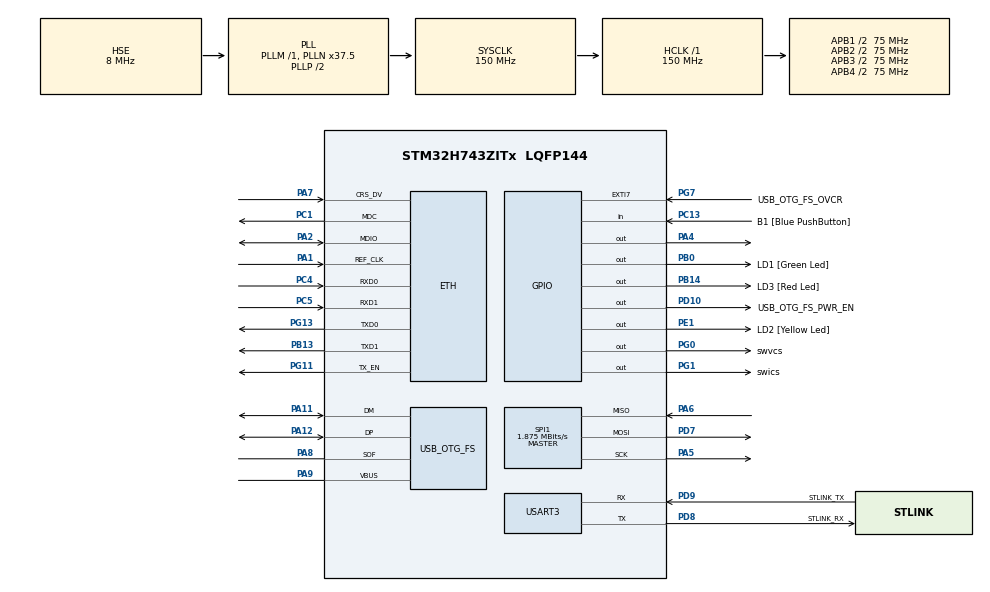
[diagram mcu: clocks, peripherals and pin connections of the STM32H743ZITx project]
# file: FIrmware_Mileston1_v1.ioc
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ETH.MediaInterface=HAL_ETH_RMII_MODE
Mcu.Family=STM32H7
Mcu.Name=STM32H743ZITx
Mcu.Package=LQFP144
NVIC.PriorityGroup=NVIC_PRIORITYGROUP_4
NVIC.TIM1_BRK_IRQn=true\:0\:0\:false\:false\:true\:true\:true\:true
NVIC.TIM1_CC_IRQn=true\:0\:0\:false\:false\:true\:true\:true\:true
NVIC.TIM1_TRG_COM_IRQn=true\:0\:0\:false\:false\:true\:true\:true\:true
NVIC.TIM1_UP_IRQn=true\:0\:0\:false\:false\:true\:true\:true\:true
PA1.Mode=RMII
PA1.Signal=ETH_REF_CLK
PA11.Mode=Device_Only
PA11.Signal=USB_OTG_FS_DM
PA12.Mode=Device_Only
PA12.Signal=USB_OTG_FS_DP
PA2.Mode=RMII
PA2.Signal=ETH_MDIO
PA4.Signal=GPIO_Output
PA5.Mode=Full_Duplex_Master
PA5.Signal=SPI1_SCK
PA6.Mode=Full_Duplex_Master
PA6.Signal=SPI1_MISO
PA7.Mode=RMII
PA7.Signal=ETH_CRS_DV
PA8.Mode=Activate_SOF_FS
PA8.Signal=USB_OTG_FS_SOF
PA9.Mode=Activate_VBUS
PA9.Signal=USB_OTG_FS_VBUS
PB0.GPIO_Label=LD1 [Green Led]
PB0.Signal=GPIO_Output
PB13.Mode=RMII
PB13.Signal=ETH_TXD1
PB14.GPIO_Label=LD3 [Red Led]
PB14.Signal=GPIO_Output
PC1.Mode=RMII
PC1.Signal=ETH_MDC
PC13.GPIO_Label=B1 [Blue PushButton]
PC13.Signal=GPIO_Input
PC14-OSC32_IN\ (OSC32_IN).Mode=LSE-External-Oscillator
PC14-OSC32_IN\ (OSC32_IN).Signal=RCC_OSC32_IN
PC15-OSC32_OUT\ (OSC32_OUT).Mode=LSE-External-Oscillator
PC15-OSC32_OUT\ (OSC32_OUT).Signal=RCC_OSC32_OUT
PC4.Mode=RMII
PC4.Signal=ETH_RXD0
PC5.Mode=RMII
PC5.Signal=ETH_RXD1
PD10.GPIO_Label=USB_OTG_FS_PWR_EN
PD10.Signal=GPIO_Output
PD7.Mode=Full_Duplex_Master
PD7.Signal=SPI1_MOSI
PD8.GPIO_Label=STLINK_RX
PD8.Mode=Asynchronous
PD8.Signal=USART3_TX
PD9.GPIO_Label=STLINK_TX
PD9.Mode=Asynchronous
PD9.Signal=USART3_RX
PE1.GPIO_Label=LD2 [Yellow Led]
PE1.Signal=GPIO_Output
PG0.GPIO_Label=swvcs
PG0.Signal=GPIO_Output
PG1.GPIO_Label=swics
PG1.Signal=GPIO_Output
PG11.Mode=RMII
PG11.Signal=ETH_TX_EN
PG13.Mode=RMII
PG13.Signal=ETH_TXD0
PG7.GPIO_Label=USB_OTG_FS_OVCR
PG7.Signal=GPXTI7
PH0-OSC_IN\ (PH0).Mode=HSE-External-Clock-Source
PH0-OSC_IN\ (PH0).Signal=RCC_OSC_IN
PH1-OSC_OUT\ (PH1).Signal=RCC_OSC_OUT
ProjectManager.HeapSize=0x200
ProjectManager.StackSize=0x400
ProjectManager.TargetToolchain=STM32CubeIDE
RCC.ADCFreq_Value=16125000
RCC.APB1Freq_Value=75000000
RCC.APB2Freq_Value=75000000
RCC.APB3Freq_Value=75000000
RCC.APB4Freq_Value=75000000
RCC.CortexFreq_Value=150000000
RCC.D1PPRE=RCC_APB3_DIV2
RCC.D2PPRE1=RCC_APB1_DIV2
RCC.D2PPRE2=RCC_APB2_DIV2
RCC.D3PPRE=RCC_APB4_DIV2
RCC.DIVM1=1
RCC.DIVN1=37
RCC.DIVQ1=5
RCC.HCLKFreq_Value=150000000
RCC.HSE_VALUE=8000000
RCC.PLL2FRACN=0
RCC.PLL3FRACN=0
RCC.PLLFRACN=4096
RCC.PWR_Regulator_Voltage_Scale=PWR_REGULATOR_VOLTAGE_SCALE2
RCC.SYSCLKFreq_VALUE=150000000
RCC.SYSCLKSource=RCC_SYSCLKSOURCE_PLLCLK
RCC.USBFreq_Value=60000000
SPI1.BaudRatePrescaler=SPI_BAUDRATEPRESCALER_32
SPI1.CalculateBaudRate=1.875 MBits/s
SPI1.DataSize=SPI_DATASIZE_8BIT
SPI1.Direction=SPI_DIRECTION_2LINES
SPI1.Mode=SPI_MODE_MASTER
SPI1.VirtualType=VM_MASTER
TIM1.Period=10000-1
TIM1.Prescaler=15000-1
USART3.VirtualMode-Asynchronous=VM_ASYNC
USB_OTG_FS.VirtualMode=Device_Only
VP_MEMORYMAP_VS_MEMORYMAP.Mode=CurAppReg
VP_TIM1_VS_ClockSourceINT.Mode=Internal
board=NUCLEO-H743ZI2

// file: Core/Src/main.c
/* USER CODE BEGIN Header */
/**
  ******************************************************************************
  * @file           : main.c
  * @brief          : Main program body
  ******************************************************************************
  * @attention
  *
  * Copyright (c) 2024 STMicroelectronics.
  * All rights reserved.
  *
  * This software is licensed under terms that can be found in the LICENSE file
  * in the root directory of this software component.
  * If no LICENSE file comes with this software, it is provided AS-IS.
  *
  ******************************************************************************
  */
/* USER CODE END Header */
#include "main.h"
#include "string.h"

/* USER CODE BEGIN Includes */

#define ARM_MATH_CM7
#include "arm_math.h"
#include "stdio.h"
#include "../../Drivers/Low pass filter/LPF.h"
#include "iocontroller.h"

/* USER CODE END Includes */

#if defined ( __ICCARM__ ) /*!< IAR Compiler */
#pragma location=0x30000000
ETH_DMADescTypeDef  DMARxDscrTab[ETH_RX_DESC_CNT]; /* Ethernet Rx DMA Descriptors */
#pragma location=0x30000080
ETH_DMADescTypeDef  DMATxDscrTab[ETH_TX_DESC_CNT]; /* Ethernet Tx DMA Descriptors */

#elif defined ( __CC_ARM )  /* MDK ARM Compiler */

__attribute__((at(0x30000000))) ETH_DMADescTypeDef  DMARxDscrTab[ETH_RX_DESC_CNT]; /* Ethernet Rx DMA Descriptors */
__attribute__((at(0x30000080))) ETH_DMADescTypeDef  DMATxDscrTab[ETH_TX_DESC_CNT]; /* Ethernet Tx DMA Descriptors */

#elif defined ( __GNUC__ ) /* GNU Compiler */

ETH_DMADescTypeDef DMARxDscrTab[ETH_RX_DESC_CNT] __attribute__((section(".RxDecripSection"))); /* Ethernet Rx DMA Descriptors */
ETH_DMADescTypeDef DMATxDscrTab[ETH_TX_DESC_CNT] __attribute__((section(".TxDecripSection")));   /* Ethernet Tx DMA Descriptors */
#endif

ETH_TxPacketConfig TxConfig;

ETH_HandleTypeDef heth;

SPI_HandleTypeDef hspi1;

TIM_HandleTypeDef htim1;

UART_HandleTypeDef huart3;

PCD_HandleTypeDef hpcd_USB_OTG_FS;

/* USER CODE BEGIN PV */
typdef_GPI_logic GP_logic_i;
typdef_GPV_logic GP_logic_v;
extern float32_t LPF_Kernel[LPF_Kernel_Size];
extern float32_t signal1[Signalsize];
float32_t filtersignal[(LPF_Kernel_Size+Signalsize)-1];
/* USER CODE END PV */

void SystemClock_Config(void);
static void MX_GPIO_Init(void);
static void MX_ETH_Init(void);
static void MX_USART3_UART_Init(void);
static void MX_USB_OTG_FS_PCD_Init(void);
static void MX_SPI1_Init(void);
static void MX_TIM1_Init(void);
/* USER CODE BEGIN PFP */
void printsignal(void);
void printfiltersignal(void);
/* USER CODE END PFP */

/* USER CODE BEGIN 0 */
int _write(int file, char *ptr, int len){
	HAL_UART_Transmit(&huart3,(uint8_t *) ptr, len, HAL_MAX_DELAY);
	return len;
}
/* USER CODE END 0 */

int main(void)
{

  /* MCU Configuration--------------------------------------------------------*/

  /* Reset of all peripherals, Initializes the Flash interface and the Systick. */
  HAL_Init();

  /* Configure the system clock */
  SystemClock_Config();

  /* Initialize all configured peripherals */
  MX_GPIO_Init();
  MX_ETH_Init();
  MX_USART3_UART_Init();
  MX_USB_OTG_FS_PCD_Init();
  MX_SPI1_Init();
  MX_TIM1_Init();
  /* USER CODE BEGIN 2 */
  arm_conv_f32(signal1, Signalsize, LPF_Kernel, LPF_Kernel_Size, filtersignal);
  printsignal();
  printfiltersignal();
  Init_GPIOs_OUTPUT();

  /* USER CODE END 2 */

  /* Infinite loop */
  while (1)
  {

    /* USER CODE BEGIN 3 */
	  updateSwitch();

  }
  /* USER CODE END 3 */
}

void SystemClock_Config(void)
{
  RCC_OscInitTypeDef RCC_OscInitStruct = {0};
  RCC_ClkInitTypeDef RCC_ClkInitStruct = {0};

  /** Supply configuration update enable
  */
  HAL_PWREx_ConfigSupply(PWR_LDO_SUPPLY);

  /** Configure the main internal regulator output voltage
  */
  __HAL_PWR_VOLTAGESCALING_CONFIG(PWR_REGULATOR_VOLTAGE_SCALE2);

  while(!__HAL_PWR_GET_FLAG(PWR_FLAG_VOSRDY)) {}

  /** Initializes the RCC Oscillators according to the specified parameters
  * in the RCC_OscInitTypeDef structure.
  */
  RCC_OscInitStruct.OscillatorType = RCC_OSCILLATORTYPE_HSE;
  RCC_OscInitStruct.HSEState = RCC_HSE_BYPASS;
  RCC_OscInitStruct.PLL.PLLState = RCC_PLL_ON;
  RCC_OscInitStruct.PLL.PLLSource = RCC_PLLSOURCE_HSE;
  RCC_OscInitStruct.PLL.PLLM = 1;
  RCC_OscInitStruct.PLL.PLLN = 37;
  RCC_OscInitStruct.PLL.PLLP = 2;
  RCC_OscInitStruct.PLL.PLLQ = 5;
  RCC_OscInitStruct.PLL.PLLR = 2;
  RCC_OscInitStruct.PLL.PLLRGE = RCC_PLL1VCIRANGE_3;
  RCC_OscInitStruct.PLL.PLLVCOSEL = RCC_PLL1VCOWIDE;
  RCC_OscInitStruct.PLL.PLLFRACN = 4096;
  if (HAL_RCC_OscConfig(&RCC_OscInitStruct) != HAL_OK)
  {
    Error_Handler();
  }

  /** Initializes the CPU, AHB and APB buses clocks
  */
  RCC_ClkInitStruct.ClockType = RCC_CLOCKTYPE_HCLK|RCC_CLOCKTYPE_SYSCLK
                              |RCC_CLOCKTYPE_PCLK1|RCC_CLOCKTYPE_PCLK2
                              |RCC_CLOCKTYPE_D3PCLK1|RCC_CLOCKTYPE_D1PCLK1;
  RCC_ClkInitStruct.SYSCLKSource = RCC_SYSCLKSOURCE_PLLCLK;
  RCC_ClkInitStruct.SYSCLKDivider = RCC_SYSCLK_DIV1;
  RCC_ClkInitStruct.AHBCLKDivider = RCC_HCLK_DIV1;
  RCC_ClkInitStruct.APB3CLKDivider = RCC_APB3_DIV2;
  RCC_ClkInitStruct.APB1CLKDivider = RCC_APB1_DIV2;
  RCC_ClkInitStruct.APB2CLKDivider = RCC_APB2_DIV2;
  RCC_ClkInitStruct.APB4CLKDivider = RCC_APB4_DIV2;

  if (HAL_RCC_ClockConfig(&RCC_ClkInitStruct, FLASH_LATENCY_2) != HAL_OK)
  {
    Error_Handler();
  }
}

static void MX_ETH_Init(void)
{

   static uint8_t MACAddr[6];

  heth.Instance = ETH;
  MACAddr[0] = 0x00;
  MACAddr[1] = 0x80;
  MACAddr[2] = 0xE1;
  MACAddr[3] = 0x00;
  MACAddr[4] = 0x00;
  MACAddr[5] = 0x00;
  heth.Init.MACAddr = &MACAddr[0];
  heth.Init.MediaInterface = HAL_ETH_RMII_MODE;
  heth.Init.TxDesc = DMATxDscrTab;
  heth.Init.RxDesc = DMARxDscrTab;
  heth.Init.RxBuffLen = 1524;

  if (HAL_ETH_Init(&heth) != HAL_OK)
  {
    Error_Handler();
  }

  memset(&TxConfig, 0 , sizeof(ETH_TxPacketConfig));
  TxConfig.Attributes = ETH_TX_PACKETS_FEATURES_CSUM | ETH_TX_PACKETS_FEATURES_CRCPAD;
  TxConfig.ChecksumCtrl = ETH_CHECKSUM_IPHDR_PAYLOAD_INSERT_PHDR_CALC;
  TxConfig.CRCPadCtrl = ETH_CRC_PAD_INSERT;

}

static void MX_SPI1_Init(void)
{

  /* SPI1 parameter configuration*/
  hspi1.Instance = SPI1;
  hspi1.Init.Mode = SPI_MODE_MASTER;
  hspi1.Init.Direction = SPI_DIRECTION_2LINES;
  hspi1.Init.DataSize = SPI_DATASIZE_8BIT;
  hspi1.Init.CLKPolarity = SPI_POLARITY_LOW;
  hspi1.Init.CLKPhase = SPI_PHASE_1EDGE;
  hspi1.Init.NSS = SPI_NSS_SOFT;
  hspi1.Init.BaudRatePrescaler = SPI_BAUDRATEPRESCALER_32;
  hspi1.Init.FirstBit = SPI_FIRSTBIT_MSB;
  hspi1.Init.TIMode = SPI_TIMODE_DISABLE;
  hspi1.Init.CRCCalculation = SPI_CRCCALCULATION_DISABLE;
  hspi1.Init.CRCPolynomial = 0x0;
  hspi1.Init.NSSPMode = SPI_NSS_PULSE_ENABLE;
  hspi1.Init.NSSPolarity = SPI_NSS_POLARITY_LOW;
  hspi1.Init.FifoThreshold = SPI_FIFO_THRESHOLD_01DATA;
  hspi1.Init.TxCRCInitializationPattern = SPI_CRC_INITIALIZATION_ALL_ZERO_PATTERN;
  hspi1.Init.RxCRCInitializationPattern = SPI_CRC_INITIALIZATION_ALL_ZERO_PATTERN;
  hspi1.Init.MasterSSIdleness = SPI_MASTER_SS_IDLENESS_00CYCLE;
  hspi1.Init.MasterInterDataIdleness = SPI_MASTER_INTERDATA_IDLENESS_00CYCLE;
  hspi1.Init.MasterReceiverAutoSusp = SPI_MASTER_RX_AUTOSUSP_DISABLE;
  hspi1.Init.MasterKeepIOState = SPI_MASTER_KEEP_IO_STATE_DISABLE;
  hspi1.Init.IOSwap = SPI_IO_SWAP_DISABLE;
  if (HAL_SPI_Init(&hspi1) != HAL_OK)
  {
    Error_Handler();
  }

}

static void MX_TIM1_Init(void)
{

  TIM_ClockConfigTypeDef sClockSourceConfig = {0};
  TIM_MasterConfigTypeDef sMasterConfig = {0};

  htim1.Instance = TIM1;
  htim1.Init.Prescaler = 15000-1;
  htim1.Init.CounterMode = TIM_COUNTERMODE_UP;
  htim1.Init.Period = 10000-1;
  htim1.Init.ClockDivision = TIM_CLOCKDIVISION_DIV1;
  htim1.Init.RepetitionCounter = 0;
  htim1.Init.AutoReloadPreload = TIM_AUTORELOAD_PRELOAD_DISABLE;
  if (HAL_TIM_Base_Init(&htim1) != HAL_OK)
  {
    Error_Handler();
  }
  sClockSourceConfig.ClockSource = TIM_CLOCKSOURCE_INTERNAL;
  if (HAL_TIM_ConfigClockSource(&htim1, &sClockSourceConfig) != HAL_OK)
  {
    Error_Handler();
  }
  sMasterConfig.MasterOutputTrigger = TIM_TRGO_RESET;
  sMasterConfig.MasterOutputTrigger2 = TIM_TRGO2_RESET;
  sMasterConfig.MasterSlaveMode = TIM_MASTERSLAVEMODE_DISABLE;
  if (HAL_TIMEx_MasterConfigSynchronization(&htim1, &sMasterConfig) != HAL_OK)
  {
    Error_Handler();
  }

}

static void MX_USART3_UART_Init(void)
{

  huart3.Instance = USART3;
  huart3.Init.BaudRate = 115200;
  huart3.Init.WordLength = UART_WORDLENGTH_8B;
  huart3.Init.StopBits = UART_STOPBITS_1;
  huart3.Init.Parity = UART_PARITY_NONE;
  huart3.Init.Mode = UART_MODE_TX_RX;
  huart3.Init.HwFlowCtl = UART_HWCONTROL_NONE;
  huart3.Init.OverSampling = UART_OVERSAMPLING_16;
  huart3.Init.OneBitSampling = UART_ONE_BIT_SAMPLE_DISABLE;
  huart3.Init.ClockPrescaler = UART_PRESCALER_DIV1;
  huart3.AdvancedInit.AdvFeatureInit = UART_ADVFEATURE_NO_INIT;
  if (HAL_UART_Init(&huart3) != HAL_OK)
  {
    Error_Handler();
  }
  if (HAL_UARTEx_SetTxFifoThreshold(&huart3, UART_TXFIFO_THRESHOLD_1_8) != HAL_OK)
  {
    Error_Handler();
  }
  if (HAL_UARTEx_SetRxFifoThreshold(&huart3, UART_RXFIFO_THRESHOLD_1_8) != HAL_OK)
  {
    Error_Handler();
  }
  if (HAL_UARTEx_DisableFifoMode(&huart3) != HAL_OK)
  {
    Error_Handler();
  }

}

static void MX_USB_OTG_FS_PCD_Init(void)
{

  hpcd_USB_OTG_FS.Instance = USB_OTG_FS;
  hpcd_USB_OTG_FS.Init.dev_endpoints = 9;
  hpcd_USB_OTG_FS.Init.speed = PCD_SPEED_FULL;
  hpcd_USB_OTG_FS.Init.dma_enable = DISABLE;
  hpcd_USB_OTG_FS.Init.phy_itface = PCD_PHY_EMBEDDED;
  hpcd_USB_OTG_FS.Init.Sof_enable = ENABLE;
  hpcd_USB_OTG_FS.Init.low_power_enable = DISABLE;
  hpcd_USB_OTG_FS.Init.lpm_enable = DISABLE;
  hpcd_USB_OTG_FS.Init.battery_charging_enable = ENABLE;
  hpcd_USB_OTG_FS.Init.vbus_sensing_enable = ENABLE;
  hpcd_USB_OTG_FS.Init.use_dedicated_ep1 = DISABLE;
  if (HAL_PCD_Init(&hpcd_USB_OTG_FS) != HAL_OK)
  {
    Error_Handler();
  }

}

static void MX_GPIO_Init(void)
{
  GPIO_InitTypeDef GPIO_InitStruct = {0};

  /* GPIO Ports Clock Enable */
  __HAL_RCC_GPIOC_CLK_ENABLE();
  __HAL_RCC_GPIOH_CLK_ENABLE();
  __HAL_RCC_GPIOA_CLK_ENABLE();
  __HAL_RCC_GPIOB_CLK_ENABLE();
  __HAL_RCC_GPIOG_CLK_ENABLE();
  __HAL_RCC_GPIOD_CLK_ENABLE();
  __HAL_RCC_GPIOE_CLK_ENABLE();

  /*Configure GPIO pin Output Level */
  HAL_GPIO_WritePin(GPIOA, GPIO_PIN_4, GPIO_PIN_RESET);

  /*Configure GPIO pin Output Level */
  HAL_GPIO_WritePin(GPIOB, LD1_Pin|LD3_Pin, GPIO_PIN_RESET);

  /*Configure GPIO pin Output Level */
  HAL_GPIO_WritePin(GPIOG, swvcs_Pin|swics_Pin, GPIO_PIN_RESET);

  /*Configure GPIO pin Output Level */
  HAL_GPIO_WritePin(USB_OTG_FS_PWR_EN_GPIO_Port, USB_OTG_FS_PWR_EN_Pin, GPIO_PIN_RESET);

  /*Configure GPIO pin Output Level */
  HAL_GPIO_WritePin(LD2_GPIO_Port, LD2_Pin, GPIO_PIN_RESET);

  /*Configure GPIO pin : B1_Pin */
  GPIO_InitStruct.Pin = B1_Pin;
  GPIO_InitStruct.Mode = GPIO_MODE_INPUT;
  GPIO_InitStruct.Pull = GPIO_NOPULL;
  HAL_GPIO_Init(B1_GPIO_Port, &GPIO_InitStruct);

  /*Configure GPIO pin : PA4 */
  GPIO_InitStruct.Pin = GPIO_PIN_4;
  GPIO_InitStruct.Mode = GPIO_MODE_OUTPUT_PP;
  GPIO_InitStruct.Pull = GPIO_NOPULL;
  GPIO_InitStruct.Speed = GPIO_SPEED_FREQ_LOW;
  HAL_GPIO_Init(GPIOA, &GPIO_InitStruct);

  /*Configure GPIO pins : LD1_Pin LD3_Pin */
  GPIO_InitStruct.Pin = LD1_Pin|LD3_Pin;
  GPIO_InitStruct.Mode = GPIO_MODE_OUTPUT_PP;
  GPIO_InitStruct.Pull = GPIO_NOPULL;
  GPIO_InitStruct.Speed = GPIO_SPEED_FREQ_LOW;
  HAL_GPIO_Init(GPIOB, &GPIO_InitStruct);

  /*Configure GPIO pins : swvcs_Pin swics_Pin */
  GPIO_InitStruct.Pin = swvcs_Pin|swics_Pin;
  GPIO_InitStruct.Mode = GPIO_MODE_OUTPUT_PP;
  GPIO_InitStruct.Pull = GPIO_NOPULL;
  GPIO_InitStruct.Speed = GPIO_SPEED_FREQ_LOW;
  HAL_GPIO_Init(GPIOG, &GPIO_InitStruct);

  /*Configure GPIO pin : USB_OTG_FS_PWR_EN_Pin */
  GPIO_InitStruct.Pin = USB_OTG_FS_PWR_EN_Pin;
  GPIO_InitStruct.Mode = GPIO_MODE_OUTPUT_PP;
  GPIO_InitStruct.Pull = GPIO_NOPULL;
  GPIO_InitStruct.Speed = GPIO_SPEED_FREQ_LOW;
  HAL_GPIO_Init(USB_OTG_FS_PWR_EN_GPIO_Port, &GPIO_InitStruct);

  /*Configure GPIO pin : USB_OTG_FS_OVCR_Pin */
  GPIO_InitStruct.Pin = USB_OTG_FS_OVCR_Pin;
  GPIO_InitStruct.Mode = GPIO_MODE_IT_RISING;
  GPIO_InitStruct.Pull = GPIO_NOPULL;
  HAL_GPIO_Init(USB_OTG_FS_OVCR_GPIO_Port, &GPIO_InitStruct);

  /*Configure GPIO pin : LD2_Pin */
  GPIO_InitStruct.Pin = LD2_Pin;
  GPIO_InitStruct.Mode = GPIO_MODE_OUTPUT_PP;
  GPIO_InitStruct.Pull = GPIO_NOPULL;
  GPIO_InitStruct.Speed = GPIO_SPEED_FREQ_LOW;
  HAL_GPIO_Init(LD2_GPIO_Port, &GPIO_InitStruct);

}

/* USER CODE BEGIN 4 */
void printsignal(void)
{
	for(int i=0;i<Signalsize;i++)
	{
		printf("%f\n\r",signal1[i]);

	}

}
void printfiltersignal(void)
{
	{
		for(int i=0;i<(LPF_Kernel_Size+Signalsize)-1;i++)
		{
			printf("%f\n\r",filtersignal[i]);

		}

	}

}
/* USER CODE END 4 */

void Error_Handler(void)
{
  __disable_irq();
  while (1)
  {
  }
}
